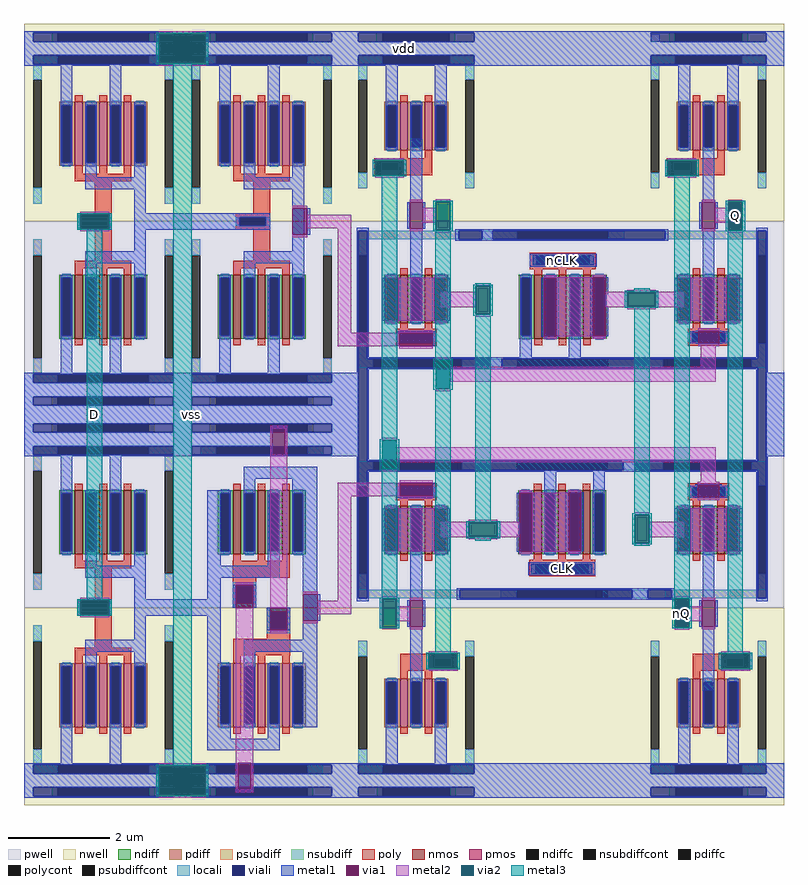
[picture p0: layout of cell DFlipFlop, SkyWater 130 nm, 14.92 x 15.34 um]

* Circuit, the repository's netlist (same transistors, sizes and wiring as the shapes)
**.subckt DFlipFlop vdd vss Q nQ D CLK nCLK
*.iopin vdd
*.iopin vss
*.opin Q
*.opin nQ
*.ipin D
*.ipin CLK
*.ipin nCLK
x1 vdd D_d D nD_d vss clock_inverter
x2 vdd nA A D_d nD_d CLK vss latch_diff
x3 vdd nQ Q A nA nCLK vss latch_diff
**.ends

* expanding   symbol:  clock_inverter.sym # of pins=5
* sym_path: /home/dhernando/caravel_analog_fulgor/xschem/clock_inverter.sym
* sch_path: /home/dhernando/caravel_analog_fulgor/xschem/clock_inverter.sch
.subckt clock_inverter  vdd CLK_d CLK nCLK_d vss
*.ipin CLK
*.iopin vdd
*.iopin vss
*.opin nCLK_d
*.opin CLK_d
x5 vdd nCLK_d net1 vss trans_gate
x1 vdd CLK_d net2 vss inverter_cp_x1
x2 vdd net2 CLK vss inverter_cp_x1
x3 vdd net1 CLK vss inverter_cp_x1
.ends


* expanding   symbol:  latch_diff.sym # of pins=7
* sym_path: /home/dhernando/caravel_analog_fulgor/xschem/latch_diff.sym
* sch_path: /home/dhernando/caravel_analog_fulgor/xschem/latch_diff.sch
.subckt latch_diff  vdd nQ Q D nD CLK vss
*.iopin vdd
*.iopin vss
*.ipin D
*.opin nQ
*.ipin CLK
*.ipin nD
*.opin Q
XM3 net1 CLK vss vss sky130_fd_pr__nfet_01v8 L=0.15 W=1.25 nf=1 ad='int((nf+1)/2) * W/nf * 0.29' as='int((nf+2)/2) * W/nf * 0.29'
+ pd='2*int((nf+1)/2) * (W/nf + 0.29)' ps='2*int((nf+2)/2) * (W/nf + 0.29)' nrd='0.29 / W' nrs='0.29 / W'
+ sa=0 sb=0 sd=0 mult=3 m=3 
XM4 nQ Q vdd vdd sky130_fd_pr__pfet_01v8 L=0.15 W=0.95 nf=1 ad='int((nf+1)/2) * W/nf * 0.29' as='int((nf+2)/2) * W/nf * 0.29'
+ pd='2*int((nf+1)/2) * (W/nf + 0.29)' ps='2*int((nf+2)/2) * (W/nf + 0.29)' nrd='0.29 / W' nrs='0.29 / W'
+ sa=0 sb=0 sd=0 mult=2 m=2 
XM5 Q nQ vdd vdd sky130_fd_pr__pfet_01v8 L=0.15 W=0.95 nf=1 ad='int((nf+1)/2) * W/nf * 0.29' as='int((nf+2)/2) * W/nf * 0.29'
+ pd='2*int((nf+1)/2) * (W/nf + 0.29)' ps='2*int((nf+2)/2) * (W/nf + 0.29)' nrd='0.29 / W' nrs='0.29 / W'
+ sa=0 sb=0 sd=0 mult=2 m=2 
XM1 nQ D net1 vss sky130_fd_pr__nfet_01v8 L=0.15 W=0.95 nf=1 ad='int((nf+1)/2) * W/nf * 0.29' as='int((nf+2)/2) * W/nf * 0.29'
+ pd='2*int((nf+1)/2) * (W/nf + 0.29)' ps='2*int((nf+2)/2) * (W/nf + 0.29)' nrd='0.29 / W' nrs='0.29 / W'
+ sa=0 sb=0 sd=0 mult=2 m=2 
XM2 Q nD net1 vss sky130_fd_pr__nfet_01v8 L=0.15 W=0.95 nf=1 ad='int((nf+1)/2) * W/nf * 0.29' as='int((nf+2)/2) * W/nf * 0.29'
+ pd='2*int((nf+1)/2) * (W/nf + 0.29)' ps='2*int((nf+2)/2) * (W/nf + 0.29)' nrd='0.29 / W' nrs='0.29 / W'
+ sa=0 sb=0 sd=0 mult=2 m=2 
.ends


* expanding   symbol:  trans_gate.sym # of pins=4
* sym_path: /home/dhernando/caravel_analog_fulgor/xschem/trans_gate.sym
* sch_path: /home/dhernando/caravel_analog_fulgor/xschem/trans_gate.sch
.subckt trans_gate  vdd out in vss
*.iopin vss
*.ipin in
*.opin out
*.iopin vdd
XM2 out vss in vdd sky130_fd_pr__pfet_01v8 L=0.15 W=1.25 nf=1 ad='int((nf+1)/2) * W/nf * 0.29' as='int((nf+2)/2) * W/nf * 0.29'
+ pd='2*int((nf+1)/2) * (W/nf + 0.29)' ps='2*int((nf+2)/2) * (W/nf + 0.29)' nrd='0.29 / W' nrs='0.29 / W'
+ sa=0 sb=0 sd=0 mult=3 m=3 
XM1 out vdd in vss sky130_fd_pr__nfet_01v8 L=0.15 W=1.25 nf=1 ad='int((nf+1)/2) * W/nf * 0.29' as='int((nf+2)/2) * W/nf * 0.29'
+ pd='2*int((nf+1)/2) * (W/nf + 0.29)' ps='2*int((nf+2)/2) * (W/nf + 0.29)' nrd='0.29 / W' nrs='0.29 / W'
+ sa=0 sb=0 sd=0 mult=3 m=3 
.ends


* expanding   symbol:  inverter_cp_x1.sym # of pins=4
* sym_path: /home/dhernando/caravel_analog_fulgor/xschem/inverter_cp_x1.sym
* sch_path: /home/dhernando/caravel_analog_fulgor/xschem/inverter_cp_x1.sch
.subckt inverter_cp_x1  vdd out in vss
*.iopin vss
*.ipin in
*.opin out
*.iopin vdd
XM2 out in vdd vdd sky130_fd_pr__pfet_01v8 L=0.15 W=1.25 nf=1 ad='int((nf+1)/2) * W/nf * 0.29' as='int((nf+2)/2) * W/nf * 0.29'
+ pd='2*int((nf+1)/2) * (W/nf + 0.29)' ps='2*int((nf+2)/2) * (W/nf + 0.29)' nrd='0.29 / W' nrs='0.29 / W'
+ sa=0 sb=0 sd=0 mult=3 m=3 
XM1 out in vss vss sky130_fd_pr__nfet_01v8 L=0.15 W=1.25 nf=1 ad='int((nf+1)/2) * W/nf * 0.29' as='int((nf+2)/2) * W/nf * 0.29'
+ pd='2*int((nf+1)/2) * (W/nf + 0.29)' ps='2*int((nf+2)/2) * (W/nf + 0.29)' nrd='0.29 / W' nrs='0.29 / W'
+ sa=0 sb=0 sd=0 mult=3 m=3 
.ends

** flattened .save nodes
.end

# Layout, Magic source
magic
tech sky130A
magscale 1 2
<< nwell >>
rect 559 2292 1181 3068
rect 559 0 1181 776
<< pwell >>
rect 559 1729 1740 2292
rect 460 1400 1740 1729
rect 559 776 1740 1400
<< psubdiff >>
rect 433 2222 654 2256
rect 489 1718 1242 1752
rect 487 1316 1249 1350
rect 1000 812 1307 846
<< poly >>
rect 741 2104 1000 2170
rect 740 898 999 964
<< locali >>
rect 433 2222 462 2256
rect 556 2222 654 2256
rect 483 1718 1265 1752
rect 489 1316 1256 1350
rect 1028 812 1205 846
rect 1299 812 1310 846
<< viali >>
rect 462 2222 556 2256
rect 1205 812 1299 846
<< metal1 >>
rect 523 3027 1200 3038
rect 523 2998 1253 3027
rect -1244 2944 1740 2998
rect 523 2940 1195 2944
rect 523 2904 1198 2940
rect -131 2240 -121 2344
rect 450 2256 596 2262
rect 450 2222 462 2256
rect 556 2222 596 2256
rect 450 2216 596 2222
rect 219 1802 229 1854
rect 361 1814 371 1854
rect 361 1802 373 1814
rect 1393 1811 1403 1863
rect 1486 1811 1496 1863
rect 587 1712 636 1758
rect -1244 1498 69 1570
rect 1105 1310 1167 1356
rect 219 1254 231 1266
rect 221 1214 231 1254
rect 361 1254 373 1266
rect 361 1214 371 1254
rect 1392 1208 1402 1260
rect 1486 1208 1496 1260
rect 1157 846 1311 852
rect -91 724 -81 828
rect 1157 812 1205 846
rect 1299 812 1311 846
rect 1157 806 1311 812
rect 559 124 1181 164
rect -1244 70 1740 124
rect 559 30 1181 70
<< via1 >>
rect -190 2240 -131 2344
rect 229 1802 361 1854
rect 1403 1811 1486 1863
rect 231 1214 361 1266
rect 1402 1208 1486 1260
rect -150 724 -91 828
<< metal2 >>
rect -190 2344 -131 2354
rect -131 2266 40 2318
rect -190 2230 -131 2240
rect -12 1854 40 2266
rect 1521 2258 1577 2369
rect 229 1854 361 1864
rect -12 1802 229 1854
rect 229 1792 361 1802
rect 1403 1863 1486 1873
rect 1403 1801 1486 1811
rect 373 1748 429 1758
rect 1413 1722 1473 1801
rect 429 1662 1473 1722
rect 373 1626 429 1636
rect 163 1432 219 1442
rect 219 1346 1473 1406
rect 163 1310 219 1320
rect 231 1266 361 1276
rect 1413 1270 1473 1346
rect -12 1214 231 1266
rect -150 828 -91 838
rect -12 802 40 1214
rect 231 1204 361 1214
rect 1402 1260 1486 1270
rect 1402 1198 1486 1208
rect -91 750 40 802
rect -150 714 -91 724
rect 1311 699 1367 810
<< via2 >>
rect 373 1636 429 1748
rect 163 1320 219 1432
<< metal3 >>
rect -997 804 -937 2264
rect 363 1748 439 1753
rect 363 1636 373 1748
rect 429 1636 439 1748
rect 363 1631 439 1636
rect 153 1432 229 1437
rect 153 1320 163 1432
rect 219 1320 229 1432
rect 153 1315 229 1320
use clock_inverter  clock_inverter_0
transform 1 0 -1244 0 1 0
box 0 0 1244 3068
use latch_diff  latch_diff_1
transform -1 0 1707 0 -1 2352
box -33 -716 1147 2352
use latch_diff  latch_diff_0
transform 1 0 33 0 1 716
box -33 -716 1147 2352
<< labels >>
rlabel metal1 -1244 1498 69 1570 1 vss
rlabel metal1 -1244 2944 1740 2998 1 vdd
rlabel metal3 -997 1498 -937 1570 1 D
rlabel poly 740 898 999 964 1 CLK
rlabel poly 741 2104 1000 2170 1 nCLK
rlabel metal2 1311 699 1367 810 1 nQ
rlabel metal2 1521 2258 1577 2369 1 Q
<< end >>

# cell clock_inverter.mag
magic
tech sky130A
magscale 1 2
<< metal1 >>
rect 520 2998 530 3028
rect 0 2944 530 2998
rect 520 2914 530 2944
rect 714 2998 724 3028
rect 714 2944 1244 2998
rect 714 2914 724 2944
rect 210 2264 220 2320
rect 334 2264 344 2320
rect 442 2259 848 2325
rect 1054 2070 1100 2523
rect 0 1504 1244 1564
rect 221 804 226 809
rect 210 748 220 804
rect 334 748 344 804
rect 221 743 226 748
rect 478 743 720 809
rect 1094 307 1152 1328
rect 520 124 530 154
rect 0 70 530 124
rect 520 40 530 70
rect 714 124 724 154
rect 714 70 1244 124
rect 714 40 724 70
<< via1 >>
rect 530 2914 714 3028
rect 220 2264 334 2320
rect 220 748 334 804
rect 530 40 714 154
<< metal2 >>
rect 530 3028 714 3038
rect 530 2904 714 2914
rect 220 2320 334 2330
rect 220 2254 334 2264
rect 220 804 334 814
rect 220 738 334 748
rect 530 154 714 164
rect 530 30 714 40
<< via2 >>
rect 530 2914 714 3028
rect 220 2264 334 2320
rect 220 748 334 804
rect 530 40 714 154
<< metal3 >>
rect 520 3028 724 3033
rect 520 2914 530 3028
rect 714 2914 724 3028
rect 520 2909 724 2914
rect 210 2320 344 2325
rect 210 2264 220 2320
rect 334 2264 344 2320
rect 210 2259 344 2264
rect 247 809 307 2259
rect 210 804 344 809
rect 210 748 220 804
rect 334 748 344 804
rect 210 743 344 748
rect 586 159 658 2909
rect 520 154 724 159
rect 520 40 530 154
rect 714 40 724 154
rect 520 35 724 40
use trans_gate  trans_gate_0
transform 1 0 675 0 -1 723
box -53 -811 569 723
use inverter_cp_x1  inverter_cp_x1_1
transform 1 0 0 0 1 2292
box 0 -758 622 776
use inverter_cp_x1  inverter_cp_x1_2
transform 1 0 622 0 1 2292
box 0 -758 622 776
use inverter_cp_x1  inverter_cp_x1_0
transform 1 0 0 0 -1 776
box 0 -758 622 776
<< labels >>
rlabel metal1 0 1504 1244 1564 1 vss
rlabel metal1 0 2944 1244 2998 1 vdd
rlabel metal3 247 1504 307 1564 1 CLK
rlabel metal1 1054 2070 1100 2523 1 CLK_d
rlabel metal1 1094 307 1152 1328 1 nCLK_d
<< end >>

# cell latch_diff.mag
magic
tech sky130A
magscale 1 2
<< nwell >>
rect -33 2264 526 2352
rect -33 2261 525 2264
rect -33 2137 307 2261
rect -33 1900 340 2137
rect -33 1576 526 1900
rect -33 -1 526 60
rect -33 -628 0 -1
rect -33 -716 526 -628
<< pwell >>
rect -33 1030 0 1576
rect -33 967 503 1030
rect -33 669 526 967
rect -33 668 503 669
rect -33 60 0 668
<< psubdiff >>
rect 36 1506 434 1540
rect 36 563 70 1027
rect 453 1002 555 1036
rect 424 600 633 634
rect 36 130 70 182
rect 36 96 613 130
<< nsubdiff >>
rect 107 2282 131 2316
rect 393 2282 417 2316
rect 108 -680 132 -646
rect 394 -680 418 -646
<< nsubdiffcont >>
rect 131 2282 393 2316
rect 132 -680 394 -646
<< poly >>
rect 99 1807 230 1824
rect 99 1773 124 1807
rect 192 1773 230 1807
rect 99 1758 230 1773
rect 296 -137 427 -122
rect 296 -171 334 -137
rect 402 -171 427 -137
rect 296 -188 427 -171
<< polycont >>
rect 124 1773 192 1807
rect 334 -171 402 -137
<< locali >>
rect 108 1773 124 1807
rect 192 1773 208 1807
rect 70 1506 434 1540
rect 70 96 434 130
rect 318 -171 334 -137
rect 402 -171 418 -137
<< viali >>
rect 36 2282 131 2316
rect 131 2282 393 2316
rect 393 2282 490 2316
rect 36 2194 490 2228
rect 124 1773 192 1807
rect 36 1036 70 1540
rect 36 1002 555 1036
rect 36 634 70 1002
rect 36 600 1077 634
rect 36 96 70 600
rect 434 96 1112 130
rect 334 -171 402 -137
rect 36 -592 490 -558
rect 36 -680 132 -646
rect 132 -680 394 -646
rect 394 -680 490 -646
<< metal1 >>
rect -33 2316 526 2322
rect -33 2282 36 2316
rect 490 2282 526 2316
rect -33 2228 526 2282
rect -33 2194 36 2228
rect 490 2194 526 2228
rect -33 2188 526 2194
rect 144 2045 190 2188
rect 336 2045 382 2188
rect 102 1761 112 1813
rect 194 1761 204 1813
rect 240 1651 286 1901
rect 30 1540 76 1552
rect 227 1547 237 1651
rect 289 1547 299 1651
rect 30 982 36 1540
rect 70 1042 76 1540
rect 240 1366 286 1547
rect 198 1104 328 1138
rect 70 1036 567 1042
rect 555 1002 567 1036
rect -33 654 36 982
rect 30 96 36 654
rect 70 996 567 1002
rect 70 640 76 996
rect 70 634 1089 640
rect 1077 600 1089 634
rect 70 594 1089 600
rect 70 96 76 594
rect 198 498 328 532
rect 766 519 812 594
rect 958 519 1004 594
rect 657 392 667 511
rect 657 280 667 346
rect 719 280 729 511
rect 849 281 859 512
rect 911 281 921 512
rect 30 84 76 96
rect 240 89 286 270
rect 714 192 954 232
rect 422 130 1124 136
rect 422 96 434 130
rect 1112 96 1124 130
rect 422 90 1124 96
rect 227 -15 237 89
rect 289 -15 299 89
rect 240 -219 286 -15
rect 322 -177 332 -125
rect 414 -177 424 -125
rect 144 -552 190 -408
rect 336 -552 382 -399
rect -33 -558 526 -552
rect -33 -592 36 -558
rect 490 -592 526 -558
rect -33 -646 526 -592
rect -33 -680 36 -646
rect 490 -680 526 -646
rect -33 -686 526 -680
<< via1 >>
rect 112 1807 194 1813
rect 112 1773 124 1807
rect 124 1773 192 1807
rect 192 1773 194 1807
rect 112 1761 194 1773
rect 237 1547 289 1651
rect 667 280 719 511
rect 859 281 911 512
rect 237 -15 289 89
rect 332 -137 414 -125
rect 332 -171 334 -137
rect 334 -171 402 -137
rect 402 -171 414 -137
rect 332 -177 414 -171
<< metal2 >>
rect 102 1814 214 1824
rect 102 1748 214 1758
rect 237 1651 289 1661
rect 340 1653 396 1663
rect 289 1570 340 1629
rect 237 1537 289 1547
rect 396 1570 398 1629
rect 340 1532 396 1542
rect 497 1323 553 1333
rect 359 1239 497 1299
rect 497 1201 553 1211
rect 667 511 719 521
rect 859 512 911 522
rect 470 396 582 404
rect 360 394 667 396
rect 360 338 470 394
rect 582 338 667 394
rect 360 336 667 338
rect 470 328 582 336
rect 719 281 859 511
rect 719 280 911 281
rect 667 270 719 280
rect 859 271 911 280
rect 130 94 186 104
rect 128 7 130 66
rect 237 89 289 99
rect 186 7 237 66
rect 130 -26 186 -17
rect 237 -25 289 -15
rect 312 -122 424 -112
rect 312 -188 424 -178
<< via2 >>
rect 102 1813 214 1814
rect 102 1761 112 1813
rect 112 1761 194 1813
rect 194 1761 214 1813
rect 102 1758 214 1761
rect 340 1542 396 1653
rect 497 1211 553 1323
rect 470 338 582 394
rect 130 -17 186 94
rect 312 -125 424 -122
rect 312 -177 332 -125
rect 332 -177 414 -125
rect 414 -177 424 -125
rect 312 -178 424 -177
<< metal3 >>
rect 92 1814 224 1819
rect 92 1758 102 1814
rect 214 1758 224 1814
rect 92 1753 224 1758
rect 128 99 188 1753
rect 330 1653 406 1658
rect 330 1542 340 1653
rect 396 1542 406 1653
rect 330 1537 406 1542
rect 120 94 196 99
rect 120 -17 130 94
rect 186 -17 196 94
rect 120 -22 196 -17
rect 338 -117 398 1537
rect 495 1328 555 1333
rect 487 1323 563 1328
rect 487 1211 497 1323
rect 553 1211 563 1323
rect 487 1206 563 1211
rect 495 399 555 1206
rect 460 394 592 399
rect 460 338 470 394
rect 582 338 592 394
rect 460 333 592 338
rect 495 323 555 333
rect 302 -122 434 -117
rect 302 -178 312 -122
rect 424 -178 434 -122
rect 302 -183 434 -178
use sky130_fd_pr__nfet_01v8_2BS854  sky130_fd_pr__nfet_01v8_2BS854_0
transform 1 0 836 0 1 395
box -311 -335 311 335
use sky130_fd_pr__pfet_01v8_MJG8BZ  sky130_fd_pr__pfet_01v8_MJG8BZ_0
transform 1 0 263 0 1 1950
box -263 -314 263 314
use sky130_fd_pr__pfet_01v8_MJG8BZ  sky130_fd_pr__pfet_01v8_MJG8BZ_1
transform -1 0 263 0 -1 -314
box -263 -314 263 314
use sky130_fd_pr__nfet_01v8_KU9PSX  sky130_fd_pr__nfet_01v8_KU9PSX_1
transform 1 0 263 0 1 1271
box -263 -305 263 305
use sky130_fd_pr__nfet_01v8_KU9PSX  sky130_fd_pr__nfet_01v8_KU9PSX_0
transform 1 0 263 0 -1 365
box -263 -305 263 305
<< labels >>
rlabel metal1 -33 654 36 982 1 vss
rlabel metal1 -33 2228 526 2282 1 vdd
rlabel metal3 128 94 188 1758 1 Q
rlabel metal3 338 -122 398 1542 1 nQ
rlabel metal1 198 1104 328 1138 1 D
rlabel metal1 198 498 328 532 1 nD
rlabel metal1 -33 -646 526 -592 1 vdd
rlabel metal1 714 192 954 232 1 CLK
<< end >>

# cell sky130_fd_pr__nfet_01v8_2BS854: kit device sky130_fd_pr__nfet_01v8, w 1.25 l 0.150 m 1 nf 3 diffcov 100 polycov 100 guard 1 glc 0 grc 1 gtc 1 gbc 1 tbcov 100 rlcov 100 topc 1 botc 0 poverlap 0 doverlap 1 lmin 0.15 wmin 0.42 compatible {sky130_fd_pr__nfet_01v8 sky130_fd_pr__nfet_01v8_lvt sky130_fd_bs_flash__special_sonosfet_star sky130_fd_pr__nfet_g5v0d10v5 sky130_fd_pr__nfet_05v0_nvt sky130_fd_pr__nfet_03v3_nvt} full_metal 1 viasrc 100 viadrn 100 viagate 100 viagb 0 viagr 0 viagl 0 viagt 0

# cell sky130_fd_pr__pfet_01v8_MJG8BZ: kit device sky130_fd_pr__pfet_01v8, w 0.95 l 0.15 m 1 nf 2 diffcov 100 polycov 100 guard 1 glc 1 grc 1 gtc 1 gbc 1 tbcov 100 rlcov 100 topc 1 botc 1 poverlap 0 doverlap 1 lmin 0.15 wmin 0.42 compatible {sky130_fd_pr__pfet_01v8 sky130_fd_pr__pfet_01v8_lvt sky130_fd_pr__pfet_01v8_hvt sky130_fd_pr__pfet_g5v0d10v5} full_metal 1 viasrc 100 viadrn 100 viagate 100 viagb 0 viagr 0 viagl 0 viagt 0

# cell sky130_fd_pr__nfet_01v8_KU9PSX: kit device sky130_fd_pr__nfet_01v8, w 0.95 l 0.150 m 1 nf 2 diffcov 100 polycov 100 guard 1 glc 1 grc 1 gtc 1 gbc 1 tbcov 100 rlcov 100 topc 1 botc 1 poverlap 0 doverlap 1 lmin 0.15 wmin 0.42 compatible {sky130_fd_pr__nfet_01v8 sky130_fd_pr__nfet_01v8_lvt sky130_fd_bs_flash__special_sonosfet_star sky130_fd_pr__nfet_g5v0d10v5 sky130_fd_pr__nfet_05v0_nvt sky130_fd_pr__nfet_03v3_nvt} full_metal 1 viasrc 100 viadrn 100 viagate 100 viagb 0 viagr 0 viagl 0 viagt 0

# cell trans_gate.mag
magic
tech sky130A
magscale 1 2
<< nwell >>
rect -53 635 569 723
rect -53 -53 569 -47
<< pwell >>
rect -53 -64 569 -53
rect -53 -811 569 -723
<< psubdiff >>
rect 55 -775 79 -741
rect 437 -775 461 -741
<< nsubdiff >>
rect 55 653 79 687
rect 437 653 461 687
<< psubdiffcont >>
rect 79 -775 437 -741
<< nsubdiffcont >>
rect 79 653 437 687
<< poly >>
rect 147 69 371 135
rect 279 31 371 69
rect 279 -37 291 31
rect 359 -37 371 31
rect 279 -53 371 -37
rect 145 -69 237 -53
rect 145 -137 157 -69
rect 225 -137 237 -69
rect 145 -171 237 -137
rect 145 -237 369 -171
<< polycont >>
rect 291 -37 359 31
rect 157 -137 225 -69
<< locali >>
rect 279 31 371 47
rect 279 -37 291 31
rect 359 -37 371 31
rect 279 -53 371 -37
rect 145 -69 237 -53
rect 145 -137 157 -69
rect 225 -137 237 -69
rect 145 -153 237 -137
<< viali >>
rect -17 653 79 687
rect 79 653 437 687
rect 437 653 533 687
rect -17 565 533 599
rect 291 -37 359 31
rect 157 -137 225 -69
rect -17 -687 533 -653
rect -17 -775 79 -741
rect 79 -775 437 -741
rect 437 -775 533 -741
<< metal1 >>
rect -53 687 569 693
rect -53 653 -17 687
rect 533 653 569 687
rect -53 599 165 653
rect 217 599 569 653
rect -53 565 -17 599
rect 533 565 569 599
rect -53 559 165 565
rect 217 559 569 565
rect 45 462 329 508
rect 45 404 137 462
rect 283 404 329 462
rect 45 -171 97 404
rect 425 183 477 416
rect 187 120 233 178
rect 419 120 477 183
rect 187 74 477 120
rect 279 -53 291 37
rect 359 -53 371 37
rect 145 -143 157 -53
rect 225 -143 237 -53
rect 45 -217 329 -171
rect 45 -341 97 -217
rect 283 -263 329 -217
rect 45 -513 91 -341
rect 419 -343 477 74
rect 425 -455 477 -343
rect 419 -501 477 -455
rect 187 -559 233 -513
rect 379 -559 477 -501
rect 187 -605 477 -559
rect -53 -653 569 -647
rect -53 -687 -17 -653
rect 533 -687 569 -653
rect -53 -741 299 -687
rect 351 -741 569 -687
rect -53 -775 -17 -741
rect 533 -775 569 -741
rect -53 -781 569 -775
<< via1 >>
rect 165 653 217 663
rect 165 599 217 653
rect 165 565 217 599
rect 165 559 217 565
rect 291 31 359 37
rect 291 -37 359 31
rect 291 -53 359 -37
rect 157 -69 225 -53
rect 157 -137 225 -69
rect 157 -143 225 -137
rect 299 -687 351 -653
rect 299 -741 351 -687
rect 299 -757 351 -741
<< metal2 >>
rect 157 663 225 673
rect 157 559 165 663
rect 217 559 225 663
rect 157 -53 225 559
rect 157 -153 225 -143
rect 291 37 359 47
rect 291 -653 359 -53
rect 291 -757 299 -653
rect 351 -757 359 -653
rect 291 -766 359 -757
rect 299 -767 351 -766
use sky130_fd_pr__pfet_01v8_4798MH  sky130_fd_pr__pfet_01v8_4798MH_0
transform 1 0 258 0 1 291
box -311 -338 311 344
use sky130_fd_pr__nfet_01v8_BHR94T  sky130_fd_pr__nfet_01v8_BHR94T_0
transform 1 0 258 0 1 -388
box -311 -335 311 324
<< labels >>
rlabel metal1 217 599 569 653 1 vdd
rlabel metal1 -53 -741 299 -687 1 vss
rlabel space 419 -605 477 416 1 out
rlabel space 45 -513 97 508 1 in
<< end >>

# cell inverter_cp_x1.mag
magic
tech sky130A
magscale 1 2
<< nwell >>
rect 0 688 622 776
<< pwell >>
rect 2 -669 622 -626
rect 0 -721 622 -669
rect 2 -722 622 -721
rect 0 -758 622 -722
<< psubdiff >>
rect 108 -722 132 -688
rect 490 -722 514 -688
<< nsubdiff >>
rect 108 706 132 740
rect 490 706 514 740
<< psubdiffcont >>
rect 132 -722 490 -688
<< nsubdiffcont >>
rect 132 706 490 740
<< poly >>
rect 278 33 344 188
rect 210 17 344 33
rect 210 -17 226 17
rect 328 -17 344 17
rect 210 -33 344 -17
rect 278 -184 344 -33
<< polycont >>
rect 226 -17 328 17
<< locali >>
rect 210 -17 226 17
rect 328 -17 344 17
<< viali >>
rect 36 706 132 740
rect 132 706 490 740
rect 490 706 586 740
rect 36 618 586 652
rect 226 -17 328 17
rect 36 -634 586 -600
rect 36 -722 132 -688
rect 132 -722 490 -688
rect 490 -722 586 -688
<< metal1 >>
rect 0 740 622 746
rect 0 706 36 740
rect 586 706 622 740
rect 0 652 622 706
rect 0 618 36 652
rect 586 618 622 652
rect 0 612 622 618
rect 144 469 190 612
rect 336 469 382 612
rect 240 173 286 231
rect 432 173 478 222
rect 240 127 478 173
rect 210 17 344 33
rect 210 -17 226 17
rect 328 -17 344 17
rect 210 -33 344 -17
rect 432 -118 478 127
rect 240 -164 478 -118
rect 240 -210 286 -164
rect 432 -210 478 -164
rect 144 -594 190 -455
rect 336 -594 382 -451
rect 0 -600 622 -594
rect 0 -634 36 -600
rect 586 -634 622 -600
rect 0 -688 622 -634
rect 0 -722 36 -688
rect 586 -722 622 -688
rect 0 -728 622 -722
use sky130_fd_pr__pfet_01v8_7KT7MH  sky130_fd_pr__pfet_01v8_7KT7MH_0
transform 1 0 311 0 1 344
box -311 -344 311 344
use sky130_fd_pr__nfet_01v8_2BS6QM  sky130_fd_pr__nfet_01v8_2BS6QM_0
transform 1 0 311 0 1 -335
box -311 -335 311 335
<< labels >>
rlabel metal1 0 652 622 706 1 vdd
rlabel metal1 0 -688 622 -634 1 vss
rlabel metal1 210 -33 226 33 1 in
rlabel metal1 432 -210 478 222 1 out
<< end >>

# cell sky130_fd_pr__pfet_01v8_7KT7MH: kit device sky130_fd_pr__pfet_01v8, w 1.25 l 0.15 m 1 nf 3 diffcov 100 polycov 100 guard 1 glc 1 grc 1 gtc 1 gbc 0 tbcov 100 rlcov 100 topc 0 botc 1 poverlap 0 doverlap 1 lmin 0.15 wmin 0.42 compatible {sky130_fd_pr__pfet_01v8 sky130_fd_pr__pfet_01v8_lvt sky130_fd_pr__pfet_01v8_hvt sky130_fd_pr__pfet_g5v0d10v5} full_metal 1 viasrc 100 viadrn 100 viagate 100 viagb 0 viagr 0 viagl 0 viagt 0

# cell sky130_fd_pr__nfet_01v8_2BS6QM: kit device sky130_fd_pr__nfet_01v8, w 1.25 l 0.150 m 1 nf 3 diffcov 100 polycov 100 guard 1 glc 1 grc 1 gtc 0 gbc 1 tbcov 100 rlcov 100 topc 1 botc 0 poverlap 0 doverlap 1 lmin 0.15 wmin 0.42 compatible {sky130_fd_pr__nfet_01v8 sky130_fd_pr__nfet_01v8_lvt sky130_fd_bs_flash__special_sonosfet_star sky130_fd_pr__nfet_g5v0d10v5 sky130_fd_pr__nfet_05v0_nvt sky130_fd_pr__nfet_03v3_nvt} full_metal 1 viasrc 100 viadrn 100 viagate 100 viagb 0 viagr 0 viagl 0 viagt 0

# cell sky130_fd_pr__pfet_01v8_4798MH: kit device sky130_fd_pr__pfet_01v8, w 1.25 l 0.15 m 1 nf 3 diffcov 100 polycov 100 guard 1 glc 1 grc 1 gtc 1 gbc 0 tbcov 100 rlcov 100 topc 1 botc 1 poverlap 0 doverlap 1 lmin 0.15 wmin 0.42 compatible {sky130_fd_pr__pfet_01v8 sky130_fd_pr__pfet_01v8_lvt sky130_fd_pr__pfet_01v8_hvt sky130_fd_pr__pfet_g5v0d10v5} full_metal 1 viasrc 100 viadrn 100 viagate 100 viagb 0 viagr 0 viagl 0 viagt 0

# cell sky130_fd_pr__nfet_01v8_BHR94T: kit device sky130_fd_pr__nfet_01v8, w 1.25 l 0.150 m 1 nf 3 diffcov 100 polycov 100 guard 1 glc 1 grc 1 gtc 1 gbc 1 tbcov 100 rlcov 100 topc 1 botc 1 poverlap 0 doverlap 1 lmin 0.15 wmin 0.42 compatible {sky130_fd_pr__nfet_01v8 sky130_fd_pr__nfet_01v8_lvt sky130_fd_bs_flash__special_sonosfet_star sky130_fd_pr__nfet_g5v0d10v5 sky130_fd_pr__nfet_05v0_nvt sky130_fd_pr__nfet_03v3_nvt} full_metal 1 viasrc 100 viadrn 100 viagate 100 viagb 0 viagr 0 viagl 0 viagt 0
